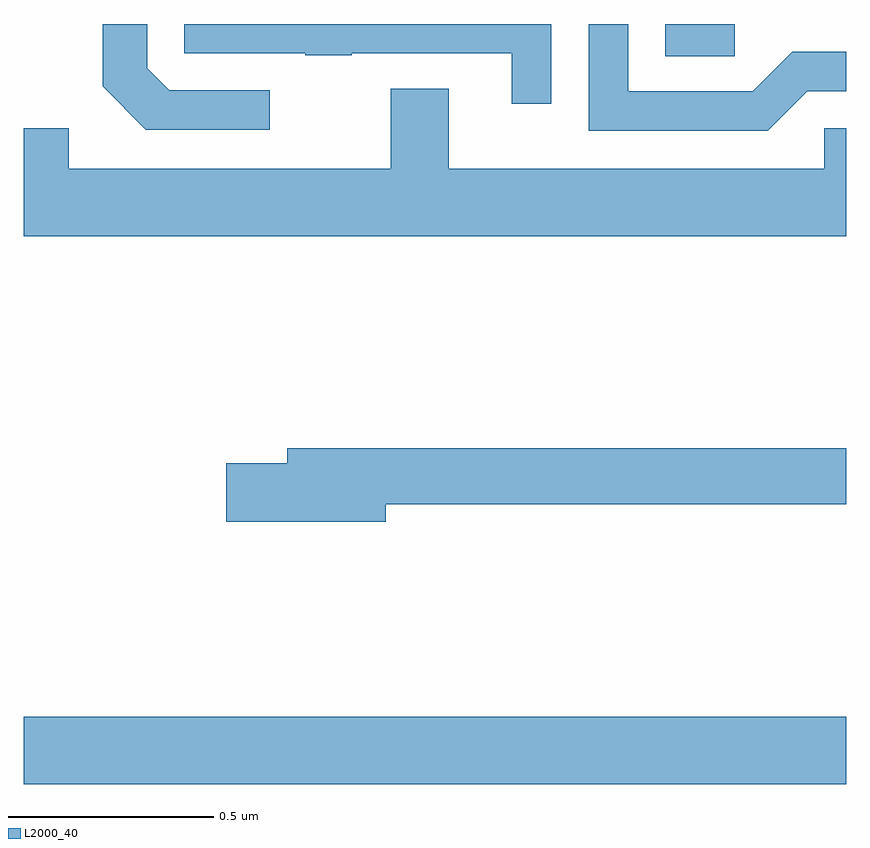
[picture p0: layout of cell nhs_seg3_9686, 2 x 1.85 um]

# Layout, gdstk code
import gdstk
lib = gdstk.Library(unit=1e-6, precision=1e-09)
def R(c, l, rs):  # rectangles x0, y0, x1, y1
    for r in rs: c.add(gdstk.rectangle(r[:2], r[2:], *l))
def P(c, l, *ps):  # polygons
    for p in ps: c.add(gdstk.Polygon(p, *l))
L2000_40 = (2000, 40)

nhs_seg3_9686 = lib.new_cell('nhs_seg3_9686')
R(nhs_seg3_9686, L2000_40, [(231,731.552,233,731.716), (232.56,733.321,232.729,733.4)])
P(nhs_seg3_9686, L2000_40, [(231.598,733.239),(231.354,733.239),(231.3,733.293),(231.3,733.4),(231.192,733.4),(231.192,733.249),(231.297,733.143),(231.598,733.143)],
  [(232.905,733.236),(233,733.236),(233,733.332),(232.869,733.332),(232.773,733.236),(232.47,733.236),(232.47,733.4),(232.374,733.4),(232.374,733.14),(232.809,733.14)],
  [(232.283,733.4),(231.39,733.4),(231.39,733.329),(231.685,733.329),(231.685,733.324),(231.797,733.324),(231.797,733.329),(232.187,733.329),(232.187,733.206),(232.283,733.206)],
  [(233,733.146),(232.947,733.146),(232.947,733.048),(232.033,733.048),(232.033,733.243),(231.893,733.243),(231.893,733.048),(231.109,733.048),(231.109,733.147),(231,733.147),(231,732.884),(233,732.884)],
  [(231.88,732.232),(233,732.232),(233,732.368),(231.641,732.368),(231.641,732.332),(231.492,732.332),(231.492,732.19),(231.88,732.19)])

lib.write_gds('nhs_seg3_9686.gds')
